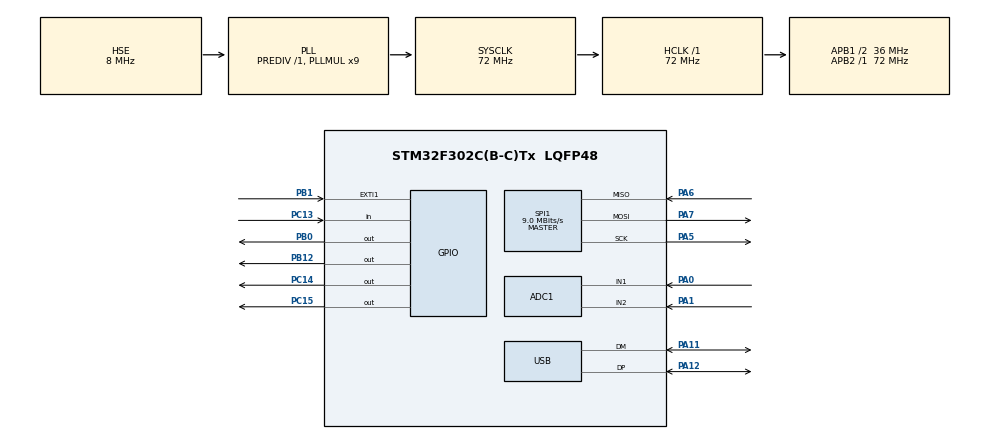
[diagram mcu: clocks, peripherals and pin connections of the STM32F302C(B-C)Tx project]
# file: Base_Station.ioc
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ADC1.Channel-0\#ChannelRegularConversion=ADC_CHANNEL_1
ADC1.Channel-1\#ChannelRegularConversion=ADC_CHANNEL_2
ADC1.ClockPrescaler=ADC_CLOCK_SYNC_PCLK_DIV2
ADC1.ContinuousConvMode=ENABLE
ADC1.DMAContinuousRequests=ENABLE
ADC1.DiscontinuousConvMode=DISABLE
ADC1.EOCSelection=ADC_EOC_SEQ_CONV
ADC1.ExternalTrigConv=ADC_EXTERNALTRIGCONV_T3_TRGO
ADC1.NbrOfConversion=2
ADC1.NbrOfConversionFlag=1
ADC1.Offset-0\#ChannelRegularConversion=0
ADC1.Offset-1\#ChannelRegularConversion=0
ADC1.OffsetNumber-0\#ChannelRegularConversion=ADC_OFFSET_NONE
ADC1.OffsetNumber-1\#ChannelRegularConversion=ADC_OFFSET_NONE
ADC1.Rank-0\#ChannelRegularConversion=1
ADC1.Rank-1\#ChannelRegularConversion=2
ADC1.SamplingTime-0\#ChannelRegularConversion=ADC_SAMPLETIME_601CYCLES_5
ADC1.SamplingTime-1\#ChannelRegularConversion=ADC_SAMPLETIME_601CYCLES_5
ADC1.SamplingTimeOPAMP-1\#ChannelRegularConversion=ADC_SAMPLETIME_7CYCLES_5
ADC1.master=1
Dma.ADC1.0.Direction=DMA_PERIPH_TO_MEMORY
Dma.ADC1.0.Instance=DMA1_Channel1
Dma.ADC1.0.MemDataAlignment=DMA_MDATAALIGN_HALFWORD
Dma.ADC1.0.MemInc=DMA_MINC_ENABLE
Dma.ADC1.0.Mode=DMA_CIRCULAR
Dma.ADC1.0.PeriphDataAlignment=DMA_PDATAALIGN_HALFWORD
Dma.ADC1.0.PeriphInc=DMA_PINC_DISABLE
Dma.ADC1.0.Priority=DMA_PRIORITY_LOW
Dma.Request0=ADC1
FREERTOS.Tasks01=defaultTask,24,128,StartDefaultTask,Default,NULL,Dynamic,NULL,NULL
FREERTOS.configTOTAL_HEAP_SIZE=12288
Mcu.Family=STM32F3
Mcu.Name=STM32F302C(B-C)Tx
Mcu.Package=LQFP48
NVIC.ADC1_2_IRQn=true\:6\:0\:true\:false\:true\:true\:true\:true\:true
NVIC.DMA1_Channel1_IRQn=true\:6\:0\:true\:false\:true\:true\:false\:true\:true
NVIC.EXTI1_IRQn=true\:6\:0\:true\:false\:true\:true\:true\:true\:true
NVIC.PriorityGroup=NVIC_PRIORITYGROUP_4
NVIC.TIM6_DAC_IRQn=true\:4\:0\:true\:false\:true\:false\:false\:true\:true
NVIC.TimeBase=TIM6_DAC_IRQn
NVIC.TimeBaseIP=TIM6
NVIC.USB_LP_CAN_RX0_IRQn=true\:5\:0\:false\:false\:true\:true\:false\:true\:true
PA0.Mode=IN1-Single-Ended
PA0.Signal=ADC1_IN1
PA1.Mode=IN2-Single-Ended
PA1.Signal=ADC1_IN2
PA11.Mode=Device
PA11.Signal=USB_DM
PA12.Mode=Device
PA12.Signal=USB_DP
PA13.Mode=Trace_Asynchronous_SW
PA13.Signal=SYS_JTMS-SWDIO
PA14.Mode=Trace_Asynchronous_SW
PA14.Signal=SYS_JTCK-SWCLK
PA5.Mode=Full_Duplex_Master
PA5.Signal=SPI1_SCK
PA6.Mode=Full_Duplex_Master
PA6.Signal=SPI1_MISO
PA7.Mode=Full_Duplex_Master
PA7.Signal=SPI1_MOSI
PB0.Signal=GPIO_Output
PB1.GPIO_PuPd=GPIO_PULLDOWN
PB1.Signal=GPXTI1
PB12.Signal=GPIO_Output
PB3.Mode=Trace_Asynchronous_SW
PB3.Signal=SYS_JTDO-TRACESWO
PC13.Signal=GPIO_Input
PC14-OSC32_IN.Signal=GPIO_Output
PC15-OSC32_OUT.Signal=GPIO_Output
PF0-OSC_IN.Mode=HSE-External-Oscillator
PF0-OSC_IN.Signal=RCC_OSC_IN
PF1-OSC_OUT.Mode=HSE-External-Oscillator
PF1-OSC_OUT.Signal=RCC_OSC_OUT
ProjectManager.HeapSize=0x200
ProjectManager.StackSize=0x400
ProjectManager.TargetToolchain=CMake
RCC.AHBFreq_Value=72000000
RCC.APB1CLKDivider=RCC_HCLK_DIV2
RCC.APB1Freq_Value=36000000
RCC.APB1TimFreq_Value=72000000
RCC.APB2Freq_Value=72000000
RCC.APB2TimFreq_Value=72000000
RCC.CortexFreq_Value=72000000
RCC.EnbaleCSS=true
RCC.HCLKFreq_Value=72000000
RCC.HSE_VALUE=8000000
RCC.HSI_VALUE=8000000
RCC.LSE_VALUE=32768
RCC.PLLMUL=RCC_PLL_MUL9
RCC.PRESCALERUSB=RCC_USBCLKSOURCE_PLL_DIV1_5
RCC.SYSCLKFreq_VALUE=72000000
RCC.SYSCLKSourceVirtual=RCC_SYSCLKSOURCE_PLLCLK
RCC.USBFreq_Value=48000000
SPI1.BaudRatePrescaler=SPI_BAUDRATEPRESCALER_8
SPI1.CLKPolarity=SPI_POLARITY_LOW
SPI1.CalculateBaudRate=9.0 MBits/s
SPI1.DataSize=SPI_DATASIZE_8BIT
SPI1.Direction=SPI_DIRECTION_2LINES
SPI1.Mode=SPI_MODE_MASTER
SPI1.VirtualType=VM_MASTER
TIM3.AutoReloadPreload=TIM_AUTORELOAD_PRELOAD_DISABLE
TIM3.Period=1000-1
TIM3.Prescaler=7200-1
TIM3.TIM_MasterOutputTrigger=TIM_TRGO_UPDATE
USB_DEVICE.CLASS_NAME_FS=CDC
USB_DEVICE.VirtualMode=Cdc
USB_DEVICE.VirtualModeFS=Cdc_FS
VP_FREERTOS_VS_CMSIS_V2.Mode=CMSIS_V2
VP_SYS_VS_tim6.Mode=TIM6
VP_TIM3_VS_ClockSourceINT.Mode=Internal
VP_USB_DEVICE_VS_USB_DEVICE_CDC_FS.Mode=CDC_FS
board=custom

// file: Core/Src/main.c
/* USER CODE BEGIN Header */
/**
  ******************************************************************************
  * @file           : main.c
  * @brief          : Main program body
  ******************************************************************************
  * @attention
  *
  * Copyright (c) 2025 STMicroelectronics.
  * All rights reserved.
  *
  * This software is licensed under terms that can be found in the LICENSE file
  * in the root directory of this software component.
  * If no LICENSE file comes with this software, it is provided AS-IS.
  *
  ******************************************************************************
  */
/* USER CODE END Header */
#include "main.h"
#include "cmsis_os.h"
#include "adc.h"
#include "dma.h"
#include "spi.h"
#include "tim.h"
#include "usb_device.h"
#include "gpio.h"

/* USER CODE BEGIN Includes */
#include "task.h"
#include "transceiver.h"
#include "temp_sensor.h"
#include "potentiometer.h"
#include "usbd_cdc_if.h"
#include "__public__ADF7030_1_fw_macro.h"
#include "semphr.h"
#include "commands.h"

#include "computer_interface.h"
/* USER CODE END Includes */

/* USER CODE BEGIN PM */
#define USB_RX_BUF_SIZE 128
#define ADC_NUM_CONVERSIONS 2

/* USER CODE END PM */

/* USER CODE BEGIN PV */

static uint16_t adc_data[ADC_NUM_CONVERSIONS];

float current_temperature;
float current_potentiometer_percentage;

QueueHandle_t xUSB_txQueue;

SemaphoreHandle_t xUSBMutex;
SemaphoreHandle_t xUSBReceiveSemaphore;

extern uint8_t UserRxBufferFS[];
extern USBD_HandleTypeDef hUsbDeviceFS;
uint32_t usbRxLen;

QueueHandle_t xXCVR_txQueue;
QueueHandle_t xXCVR_rxQueue;

static SemaphoreHandle_t xXCVRMutex;
static SemaphoreHandle_t xRXReadySemaphore;

/* USER CODE END PV */

void SystemClock_Config(void);
void MX_FREERTOS_Init(void);
/* USER CODE BEGIN PFP */
static void formatPacketForUSB(data_packet_s *packetToSend);
/* USER CODE END PFP */

int main(void)
{

  /* USER CODE BEGIN 1 */
  BaseType_t xTransmitTaskReturned;
  BaseType_t xXCVR_RXTaskReturned;
  BaseType_t xSensorTaskReturned;

  TaskHandle_t xTransmitHandle = NULL;
  TaskHandle_t xReceiveHandle = NULL;
  TaskHandle_t xSensorHandle = NULL;

  xUSB_txQueue = xQueueCreate(5, sizeof(data_packet_s));

  xUSBMutex = xSemaphoreCreateMutex();
  xUSBReceiveSemaphore = xSemaphoreCreateBinary();

  TaskHandle_t xUSBTransmitHandle = NULL;
  TaskHandle_t xUSBReceiveHandle = NULL;

  BaseType_t xUSBTransmitTaskReturned;
  BaseType_t xUSBReceiveTaskReturned;

  xXCVRMutex = xSemaphoreCreateMutex();
  xRXReadySemaphore = xSemaphoreCreateBinary();

  xXCVR_txQueue = xQueueCreate(5, sizeof(data_packet_s));
  xXCVR_rxQueue = xQueueCreate(5, sizeof(data_packet_s));
  /* USER CODE END 1 */

  /* MCU Configuration--------------------------------------------------------*/

  /* Reset of all peripherals, Initializes the Flash interface and the Systick. */
  HAL_Init();

  /* USER CODE BEGIN Init */
  xTransmitTaskReturned = xTaskCreate(
                            vXCVR_TXTask,
                            "Transmit",
                            XCVR_TX_STACK_SIZE,
                            NULL,
                            2,
                            &xTransmitHandle);

  xXCVR_RXTaskReturned = xTaskCreate(
                          vXCVR_RXTask,
                          "XCVR_RX",
                          XCVR_RX_STACK_SIZE,
                          NULL,
                          1,
                          &xReceiveHandle);

  xUSBTransmitTaskReturned = xTaskCreate(
                              vUSBTransmitTask,
                              "USBTransmit",
                              USB_TRANSMIT_STACK_SIZE,
                              NULL,
                              2,
                              &xUSBTransmitHandle);

  xUSBReceiveTaskReturned = xTaskCreate(
                              vUSBReceiveTask,
                              "USBReceive",
                              USB_RECEIVE_STACK_SIZE,
                              NULL,
                              2,
                              &xUSBReceiveHandle);
  /* USER CODE END Init */

  /* Configure the system clock */
  SystemClock_Config();

  /* Initialize all configured peripherals */
  MX_GPIO_Init();
  MX_DMA_Init();
  MX_ADC1_Init();
  MX_SPI1_Init();
  MX_TIM3_Init();
  /* USER CODE BEGIN 2 */
  MX_USB_DEVICE_Init();
  // Turn on XCVR power
  HAL_GPIO_WritePin(GPIOC, GPIO_PIN_14, GPIO_PIN_SET);

  ADF7030_init(&hspi1, GPIOB, GPIO_PIN_0, GPIOC, GPIO_PIN_15, GPIOA, GPIO_PIN_6);

  HAL_ADCEx_Calibration_Start(&hadc1, ADC_SINGLE_ENDED);
  HAL_ADC_Start_DMA(&hadc1, (uint32_t *) adc_data, ADC_NUM_CONVERSIONS);

  HAL_TIM_Base_Start(&htim3);
  /* USER CODE END 2 */

  /* Init scheduler */
  osKernelInitialize();

  /* Call init function for freertos objects (in cmsis_os2.c) */
  MX_FREERTOS_Init();

  /* Start scheduler */
  osKernelStart();

  /* We should never get here as control is now taken by the scheduler */

  /* Infinite loop */
  /* USER CODE BEGIN WHILE */
  vTaskStartScheduler();
  while (1)
  {
    /* USER CODE END WHILE */

  }
}

void SystemClock_Config(void)
{
  RCC_OscInitTypeDef RCC_OscInitStruct = {0};
  RCC_ClkInitTypeDef RCC_ClkInitStruct = {0};
  RCC_PeriphCLKInitTypeDef PeriphClkInit = {0};

  /** Initializes the RCC Oscillators according to the specified parameters
  * in the RCC_OscInitTypeDef structure.
  */
  RCC_OscInitStruct.OscillatorType = RCC_OSCILLATORTYPE_HSE;
  RCC_OscInitStruct.HSEState = RCC_HSE_ON;
  RCC_OscInitStruct.HSEPredivValue = RCC_HSE_PREDIV_DIV1;
  RCC_OscInitStruct.HSIState = RCC_HSI_ON;
  RCC_OscInitStruct.PLL.PLLState = RCC_PLL_ON;
  RCC_OscInitStruct.PLL.PLLSource = RCC_PLLSOURCE_HSE;
  RCC_OscInitStruct.PLL.PLLMUL = RCC_PLL_MUL9;
  if (HAL_RCC_OscConfig(&RCC_OscInitStruct) != HAL_OK)
  {
    Error_Handler();
  }

  /** Initializes the CPU, AHB and APB buses clocks
  */
  RCC_ClkInitStruct.ClockType = RCC_CLOCKTYPE_HCLK|RCC_CLOCKTYPE_SYSCLK
                              |RCC_CLOCKTYPE_PCLK1|RCC_CLOCKTYPE_PCLK2;
  RCC_ClkInitStruct.SYSCLKSource = RCC_SYSCLKSOURCE_PLLCLK;
  RCC_ClkInitStruct.AHBCLKDivider = RCC_SYSCLK_DIV1;
  RCC_ClkInitStruct.APB1CLKDivider = RCC_HCLK_DIV2;
  RCC_ClkInitStruct.APB2CLKDivider = RCC_HCLK_DIV1;

  if (HAL_RCC_ClockConfig(&RCC_ClkInitStruct, FLASH_LATENCY_2) != HAL_OK)
  {
    Error_Handler();
  }
  PeriphClkInit.PeriphClockSelection = RCC_PERIPHCLK_USB;
  PeriphClkInit.USBClockSelection = RCC_USBCLKSOURCE_PLL_DIV1_5;
  if (HAL_RCCEx_PeriphCLKConfig(&PeriphClkInit) != HAL_OK)
  {
    Error_Handler();
  }

  /** Enables the Clock Security System
  */
  HAL_RCC_EnableCSS();
}

/* USER CODE BEGIN 4 */
void vXCVR_TXTask(void *pvParameters) {
  data_packet_s packetToSend;
  for(;;) {

    // Pull a packet off the transmit queue and send it via the transceiver
    // Should disable the input interrupt during this as the ISR will get triggered for receiving
    xQueueReceive(xXCVR_txQueue, &packetToSend, portMAX_DELAY);
    xSemaphoreTake(xXCVRMutex, portMAX_DELAY);

    // Disable the interrupt tied to the XCVR as this gets flagged when a transmission or a reception is complete
    HAL_NVIC_DisableIRQ(EXTI1_IRQn);

    ADF7030_transmitPacket(&packetToSend);

    // Clear the interrupt flag and re-enable the interrupt
    __HAL_GPIO_EXTI_CLEAR_IT(GPIO_PIN_1);
    HAL_NVIC_EnableIRQ(EXTI1_IRQn);

    xSemaphoreGive(xXCVRMutex);
  }

  vTaskDelete(NULL);
}

void vXCVR_RXTask(void * pvParameters) {

  data_packet_s receivedPacket;
  for(;;) {

    // Wait until a packet has been received, then read it
    xSemaphoreTake(xRXReadySemaphore, portMAX_DELAY);
    xSemaphoreTake(xXCVRMutex, portMAX_DELAY);

    TRANSCEIVER_ERR_e result = ADF7030_receivePacket(&receivedPacket);
    xSemaphoreGive(xXCVRMutex);

    if (result != TRANSCEIVER_ERR_OK) {
      continue;
    }

    xQueueSend(xUSB_txQueue, &receivedPacket, portMAX_DELAY);
  }

  vTaskDelete(NULL);
}

void vUSBReceiveTask(void *pvParameters) {

  uint8_t cmdBuf[USB_RX_BUF_SIZE];
  uint32_t cmdLen;

  for(;;) {

    // Wait until a packet has been received over USB, then push it to the USB receive queue
    xSemaphoreTake(xUSBReceiveSemaphore, portMAX_DELAY);

    // Copy usb data to a local buffer
    cmdLen = usbRxLen;
    memcpy(cmdBuf, UserRxBufferFS, cmdLen);

    // Re-arm USB
    USBD_CDC_SetRxBuffer(&hUsbDeviceFS, &UserRxBufferFS[0]);
    USBD_CDC_ReceivePacket(&hUsbDeviceFS);

    // Process the command received over USB
    CI_processCommand(cmdBuf, cmdLen);
  }

  vTaskDelete(NULL);
}

void vUSBTransmitTask(void *pvParameters) {

  for(;;) {

    // Wait until there is a packet to send over USB, then send it
    data_packet_s packetToSend;
    xQueueReceive(xUSB_txQueue, &packetToSend, portMAX_DELAY);

    formatPacketForUSB(&packetToSend);

    // Wait until the USB is ready to transmit, then send the packet over USB
    xSemaphoreTake(xUSBMutex, portMAX_DELAY);
    USBD_CDC_SetTxBuffer(&hUsbDeviceFS, packetToSend.payload, packetToSend.length);
    USBD_CDC_TransmitPacket(&hUsbDeviceFS);
    xSemaphoreGive(xUSBMutex);
  }

  vTaskDelete(NULL);
}

void HAL_GPIO_EXTI_Callback(uint16_t GPIO_Pin) {
  if(GPIO_Pin == GPIO_PIN_1) {

    BaseType_t xHigherPriorityTaskWoken = pdFALSE;
    xSemaphoreGiveFromISR(xRXReadySemaphore, &xHigherPriorityTaskWoken);
    portYIELD_FROM_ISR(xHigherPriorityTaskWoken);
  }
}

void HAL_ADC_ConvCpltCallback(ADC_HandleTypeDef* hadc) {
  if (hadc->Instance == ADC1) {
    current_potentiometer_percentage = potentiometer_ADCToPercentage(adc_data[0]);
    current_temperature = temp_sensor_ADCToTemperature(adc_data[1]);
  }
}

// Add a start of frame marker to the packets
static void formatPacketForUSB(data_packet_s *packetToSend) {

  uint8_t newPacket[packetToSend->length + 2];
  newPacket[0] = 0xAA;
  newPacket[1] = 0x55;

  memcpy(&newPacket[2], packetToSend->payload, packetToSend->length);
  memcpy(packetToSend->payload, newPacket, packetToSend->length + 2);
  packetToSend->length += 2;

}
/* USER CODE END 4 */

void HAL_TIM_PeriodElapsedCallback(TIM_HandleTypeDef *htim)
{
  if (htim->Instance == TIM6) {
    HAL_IncTick();
  }
}

void Error_Handler(void)
{
  __disable_irq();
  while (1)
  {
  }
}
